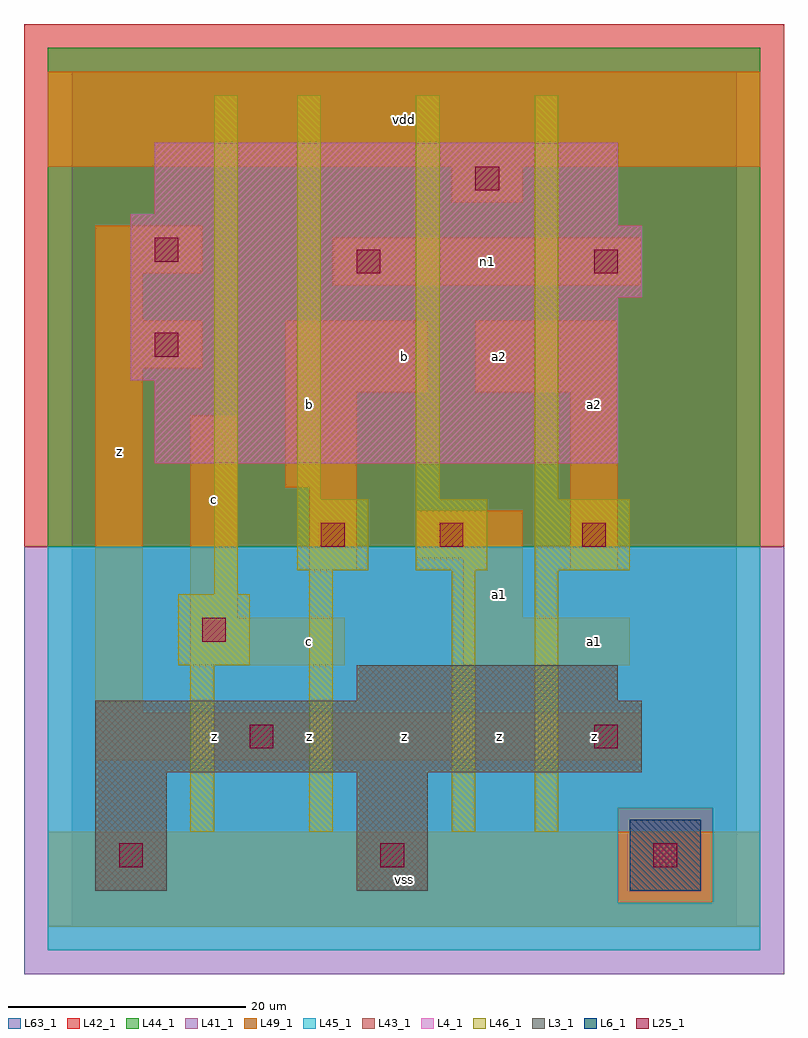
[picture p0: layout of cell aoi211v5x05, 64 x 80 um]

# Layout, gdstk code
import gdstk
lib = gdstk.Library(unit=1e-6, precision=1e-09)
def R(c, l, rs):  # rectangles x0, y0, x1, y1
    for r in rs: c.add(gdstk.rectangle(r[:2], r[2:], *l))
def A(c, l, x, y, w, h, nx, ny, dx, dy):  # array of equal rectangles
    R(c, l, [(x+i*dx, y+j*dy, x+i*dx+w, y+j*dy+h) for i in range(nx) for j in range(ny)])
L3_1 = (3, 1)
L4_1 = (4, 1)
L6_1 = (6, 1)
L25_1 = (25, 1)
L41_1 = (41, 1)
L42_1 = (42, 1)
L43_1 = (43, 1)
L44_1 = (44, 1)
L45_1 = (45, 1)
L46_1 = (46, 1)
L49_1 = (49, 1)
L63_1 = (63, 1)

aoi211v5x05 = lib.new_cell('aoi211v5x05')
R(aoi211v5x05, L3_1, [(2,3,8,13), (24,3,30,13), (2,13,48,19), (24,19,46,22)])
R(aoi211v5x05, L4_1, [(7,39,46,46), (5,46,46,53), (5,53,48,59), (5,59,46,60), (7,60,46,66)])
R(aoi211v5x05, L6_1, [(47,3,53,9), (47,3,53,9)])
R(aoi211v5x05, L25_1, [(4,5,6,7), (26,5,28,7), (49,5,51,7), (15,15,17,17), (44,15,46,17), (11,24,13,26), (21,32,23,34), (31,32,33,34), (43,32,45,34), (7,48,9,50), (24,55,26,57), (44,55,46,57), (7,56,9,58), (34,62,36,64)])
R(aoi211v5x05, L41_1, [(-4,-4,60,32)])
R(aoi211v5x05, L42_1, [(-4,32,60,76)])
R(aoi211v5x05, L43_1, [(2,3,8,13), (24,3,30,13), (47,3,53,9), (2,13,48,19), (24,19,46,22), (7,39,46,46), (5,46,46,53), (5,53,48,59), (5,59,46,60), (7,60,46,66)])
R(aoi211v5x05, L44_1, [(46,2,54,10), (-2,32,58,74)])
R(aoi211v5x05, L45_1, [(-2,-2,58,2), (-2,2,46,10), (54,2,58,10), (-2,10,58,32)])
A(aoi211v5x05, L46_1, 19, 36, 2, 34, 3, 1, 10, 0)
R(aoi211v5x05, L46_1, [(10,8,12,22), (20,8,22,30), (32,8,34,30), (39,8,41,30), (9,22,15,28), (12,28,14,70), (19,30,25,36), (29,30,35,36), (39,30,47,36)])
R(aoi211v5x05, L49_1, [(-2,0,58,8), (2,14,48,18), (2,18,6,47), (10,22,23,26), (33,22,47,26), (10,26,14,43), (33,26,38,31), (20,30,24,37), (42,30,46,45), (29,31,38,35), (18,37,24,45), (18,45,30,51), (34,45,46,51), (2,47,11,51), (2,51,6,55), (22,54,48,58), (2,55,11,59), (32,61,38,64), (-2,64,58,72)])
R(aoi211v5x05, L63_1, [(0,0,56,72)])
aoi211v5x05.add(gdstk.Label('z', (4,40), layer=49, texttype=1))
aoi211v5x05.add(gdstk.Label('z', (20,16), layer=49, texttype=1))
aoi211v5x05.add(gdstk.Label('z', (12,16), layer=49, texttype=1))
aoi211v5x05.add(gdstk.Label('c', (20,24), layer=49, texttype=1))
aoi211v5x05.add(gdstk.Label('c', (12,36), layer=49, texttype=1))
aoi211v5x05.add(gdstk.Label('b', (20,44), layer=49, texttype=1))
aoi211v5x05.add(gdstk.Label('vss', (28,4), layer=49, texttype=1))
aoi211v5x05.add(gdstk.Label('z', (36,16), layer=49, texttype=1))
aoi211v5x05.add(gdstk.Label('z', (28,16), layer=49, texttype=1))
aoi211v5x05.add(gdstk.Label('a1', (36,28), layer=49, texttype=1))
aoi211v5x05.add(gdstk.Label('b', (28,48), layer=49, texttype=1))
aoi211v5x05.add(gdstk.Label('a2', (36,48), layer=49, texttype=1))
aoi211v5x05.add(gdstk.Label('vdd', (28,68), layer=49, texttype=1))
aoi211v5x05.add(gdstk.Label('z', (44,16), layer=49, texttype=1))
aoi211v5x05.add(gdstk.Label('a1', (44,24), layer=49, texttype=1))
aoi211v5x05.add(gdstk.Label('a2', (44,44), layer=49, texttype=1))
aoi211v5x05.add(gdstk.Label('n1', (35,56), layer=49, texttype=1))

lib.write_gds('aoi211v5x05.gds')
